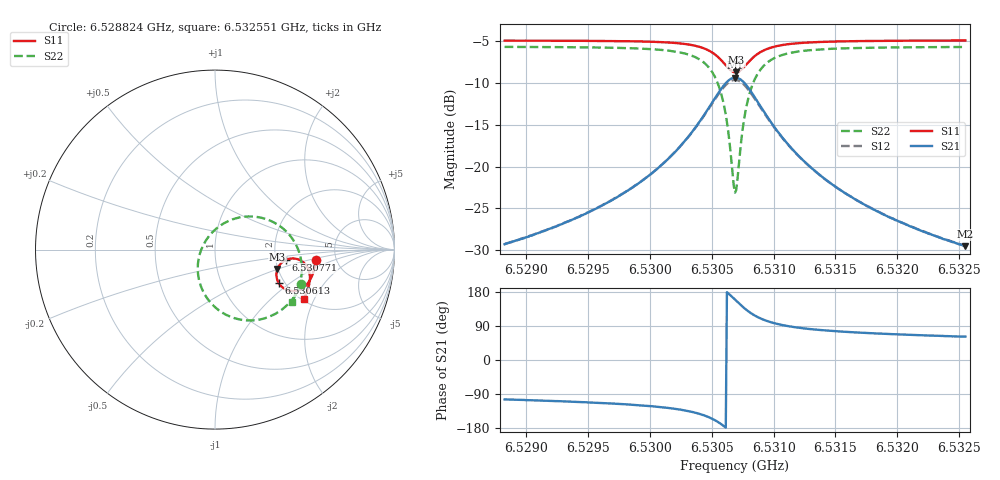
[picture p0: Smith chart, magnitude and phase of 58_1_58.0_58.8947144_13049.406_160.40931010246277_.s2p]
#  HZ  S  RI  R  50.00
! Rohde & Schwarz Vector Network Analyzer
! Rohde-Schwarz,ZNB20-2Port,1311601062101988,3.16
! Created: UTC 3/21/2024, 12:52:52 AM
! freq[Hz]  re:S11  im:S11  re:S21  im:S21  re:S12  im:S12  re:S22  im:S22
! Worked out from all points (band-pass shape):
!   401 points, 6.528824 GHz to 6.532551 GHz, reference 50 ohm
!   highest |S21| = -9.39 dB at 6.530688 GHz (marker M1); lowest = -29.5 dB at 6.532551 GHz (marker M2)
!   |S21| within 3 dB of the highest: 6.530502 GHz to 6.530875 GHz (373.1 kHz wide, 0.00571 % of centre)
!   lowest |S11| = -8.8 dB at 6.530697 GHz (marker M3), VSWR 2.15, Z = 99.3 - j24.7 ohm
!   |S11| at or under -10 dB: nowhere
!   |S22| runs from -23.1 to -5.7 dB; largest |S21 - S12| = 0.014
!   S11 on the Smith chart (normalised r, x): 6.528824 GHz: 3.47, -0.59; 6.530613 GHz: 1.86, -0.83; 6.530771 GHz: 2.29, -0.31; 6.532551 GHz: 2.05, -1.66
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6.528824e9  0.5607 -0.0581  -0.00832 -0.0333  -0.00902 -0.0331  0.4816 -0.1891
6.5294483e9  0.5512 -0.112  -0.0184 -0.0477  -0.0197 -0.0473  0.449 -0.2511
6.5298024e9  0.5399 -0.147  -0.0321 -0.0627  -0.0337 -0.0621  0.4137 -0.2967
6.5300726e9  0.5236 -0.1791  -0.0551 -0.0822  -0.0575 -0.0806  0.3615 -0.3421
6.5302963e9  0.4937 -0.211  -0.1016 -0.1053  -0.1047 -0.1015  0.2678 -0.3853
6.5304547e9  0.4445 -0.2304  -0.1801 -0.1117  -0.1826 -0.1038  0.1239 -0.3862
6.5305478e9  0.3938 -0.2217  -0.2593 -0.0786  -0.2577 -0.067  -0.00705 -0.3138
6.5305851e9  0.371 -0.2059  -0.2934 -0.0445  -0.2884 -0.0324  -0.0577 -0.2492
6.5306131e9  0.3559 -0.1874  -0.3143 -0.008  -0.3065 0.00336  -0.0852 -0.1843
6.530641e9  0.3454 -0.1635  -0.3267 0.0369  -0.3159 0.0464  -0.0963 -0.1074
6.530669e9  0.3424 -0.1358  -0.3261 0.0869  -0.3135 0.0933  -0.0852 -0.0256
6.5306876e9  0.3453 -0.1168  -0.3174 0.1201  -0.3042 0.1242  -0.0643 0.027
6.5306969e9  0.3481 -0.1077  -0.3107 0.136  -0.2975 0.1389  -0.0501 0.0518
6.5307435e9  0.3752 -0.07  -0.2574 0.1998  -0.2464 0.1977  0.049 0.1462
6.5307715e9  0.397 -0.0567  -0.2173 0.2218  -0.2087 0.2181  0.1189 0.1749
6.5308367e9  0.4465 -0.0504  -0.1308 0.2319  -0.1265 0.2277  0.2652 0.1757
6.5309299e9  0.4918 -0.0706  -0.0534 0.2009  -0.0516 0.1984  0.3916 0.1064
6.5310696e9  0.5197 -0.1082  -0.00586 0.1491  -0.00458 0.1482  0.463 0.0014
6.5313119e9  0.529 -0.1548  0.015 0.096  0.0161 0.0956  0.4838 -0.1093
6.5315728e9  0.5256 -0.1892  0.0185 0.0671  0.0197 0.067  0.4763 -0.175
6.5319362e9  0.5157 -0.2254  0.0182 0.0464  0.019 0.0462  0.4585 -0.2312
6.5325512e9  0.4942 -0.2746  0.0159 0.0294  0.0165 0.0292  0.4265 -0.2919
